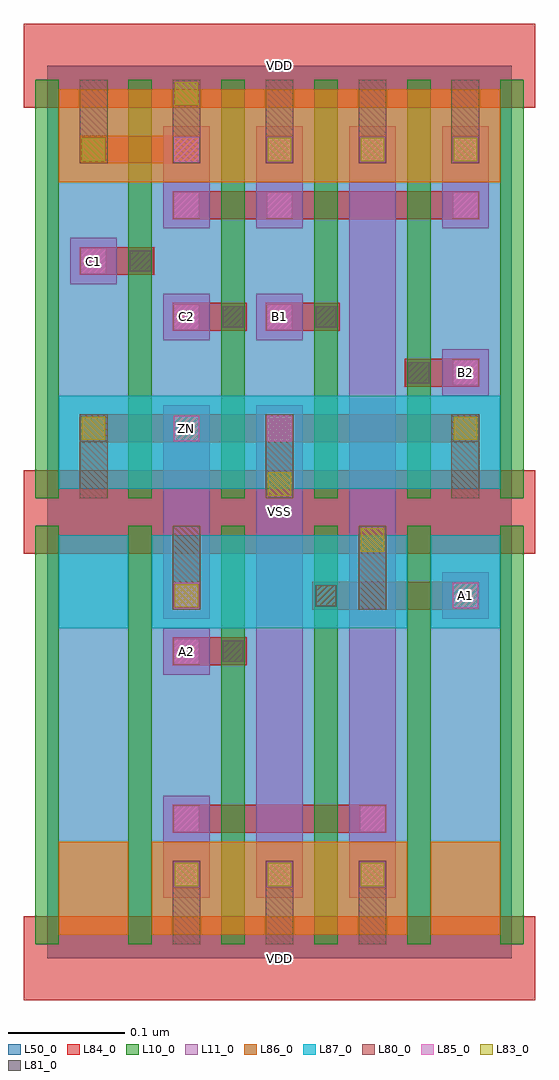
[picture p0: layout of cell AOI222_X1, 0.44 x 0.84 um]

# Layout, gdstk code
import gdstk
lib = gdstk.Library(unit=1e-6, precision=1e-09)
def R(c, l, rs):  # rectangles x0, y0, x1, y1
    for r in rs: c.add(gdstk.rectangle(r[:2], r[2:], *l))
def A(c, l, x, y, w, h, nx, ny, dx, dy):  # array of equal rectangles
    R(c, l, [(x+i*dx, y+j*dy, x+i*dx+w, y+j*dy+h) for i in range(nx) for j in range(ny)])
L10_0 = (10, 0)
L11_0 = (11, 0)
L50_0 = (50, 0)
L80_0 = (80, 0)
L81_0 = (81, 0)
L83_0 = (83, 0)
L84_0 = (84, 0)
L85_0 = (85, 0)
L86_0 = (86, 0)
L87_0 = (87, 0)

aoi222_x1 = lib.new_cell('AOI222_X1')
A(aoi222_x1, L10_0, -0.01, 0.012, 0.02, 0.36, 6, 2, 0.08, 0.384)
R(aoi222_x1, L11_0, [(0.1,0.052,0.14,0.14), (0.18,0.052,0.22,0.476), (0.26,0.052,0.3,0.716), (0.1,0.244,0.14,0.284), (0.1,0.292,0.14,0.476), (0.34,0.292,0.38,0.332), (0.34,0.484,0.38,0.524), (0.1,0.532,0.14,0.572), (0.18,0.532,0.22,0.572), (0.02,0.58,0.06,0.62), (0.1,0.628,0.14,0.716), (0.18,0.628,0.22,0.716), (0.34,0.628,0.38,0.716)])
R(aoi222_x1, L50_0, [(0,0,0.4,0.768)])
A(aoi222_x1, L80_0, 0.108, 0.012, 0.024, 0.072, 3, 1, 0.08, 0)
A(aoi222_x1, L80_0, 0.028, 0.396, 0.024, 0.072, 3, 1, 0.16, 0)
A(aoi222_x1, L80_0, 0.028, 0.684, 0.024, 0.072, 5, 1, 0.08, 0)
R(aoi222_x1, L80_0, [(0.108,0.3,0.132,0.372), (0.268,0.3,0.292,0.372)])
R(aoi222_x1, L81_0, [(0.151,0.255,0.169,0.273), (0.231,0.303,0.249,0.321), (0.311,0.495,0.329,0.513), (0.151,0.543,0.169,0.561), (0.231,0.543,0.249,0.561), (0.071,0.591,0.089,0.609)])
A(aoi222_x1, L83_0, 0.11, 0.062, 0.02, 0.02, 3, 1, 0.08, 0)
A(aoi222_x1, L83_0, 0.19, 0.686, 0.02, 0.02, 3, 1, 0.08, 0)
R(aoi222_x1, L83_0, [(0.11,0.302,0.13,0.322), (0.27,0.35,0.29,0.37), (0.19,0.398,0.21,0.418), (0.03,0.446,0.05,0.466), (0.35,0.446,0.37,0.466), (0.03,0.686,0.05,0.706), (0.11,0.734,0.13,0.754)])
A(aoi222_x1, L84_0, -0.02, -0.036, 0.44, 0.072, 1, 3, 0, 0.384)
A(aoi222_x1, L84_0, 0.108, 0.06, 0.024, 0.024, 3, 1, 0.08, 0)
A(aoi222_x1, L84_0, 0.188, 0.684, 0.024, 0.024, 3, 1, 0.08, 0)
R(aoi222_x1, L84_0, [(0.108,0.108,0.292,0.132), (0.108,0.252,0.172,0.276), (0.108,0.3,0.132,0.324), (0.228,0.3,0.372,0.324), (0.028,0.444,0.372,0.468), (0.308,0.492,0.372,0.516), (0.108,0.54,0.172,0.564), (0.188,0.54,0.252,0.564), (0.028,0.588,0.092,0.612), (0.108,0.636,0.372,0.66), (0.028,0.684,0.132,0.708)])
A(aoi222_x1, L85_0, 0.109, 0.061, 0.022, 0.022, 3, 1, 0.08, 0)
A(aoi222_x1, L85_0, 0.109, 0.445, 0.022, 0.022, 1, 3, 0, 0.096)
A(aoi222_x1, L85_0, 0.189, 0.445, 0.022, 0.022, 1, 3, 0, 0.096)
A(aoi222_x1, L85_0, 0.109, 0.685, 0.022, 0.022, 4, 1, 0.08, 0)
R(aoi222_x1, L85_0, [(0.109,0.109,0.131,0.131), (0.269,0.109,0.291,0.131), (0.109,0.253,0.131,0.275), (0.109,0.301,0.131,0.323), (0.349,0.301,0.371,0.323), (0.349,0.493,0.371,0.515), (0.029,0.589,0.051,0.611), (0.349,0.637,0.371,0.659)])
R(aoi222_x1, L86_0, [(0.01,0.02,0.07,0.1), (0.09,0.02,0.31,0.1), (0.33,0.02,0.39,0.1), (0.01,0.668,0.39,0.748)])
R(aoi222_x1, L87_0, [(0.01,0.284,0.07,0.364), (0.09,0.284,0.31,0.364), (0.33,0.284,0.39,0.364), (0.01,0.404,0.39,0.484)])
aoi222_x1.add(gdstk.Label('VSS', (0.2,0.384), layer=88, texttype=0))
aoi222_x1.add(gdstk.Label('VDD', (0.2,0), layer=88, texttype=0))
aoi222_x1.add(gdstk.Label('VDD', (0.2,0.768), layer=88, texttype=0))
aoi222_x1.add(gdstk.Label('B2', (0.36,0.504), layer=31, texttype=0))
aoi222_x1.add(gdstk.Label('A2', (0.12,0.264), layer=31, texttype=0))
aoi222_x1.add(gdstk.Label('C1', (0.04,0.6), layer=31, texttype=0))
aoi222_x1.add(gdstk.Label('A1', (0.36,0.312), layer=31, texttype=0))
aoi222_x1.add(gdstk.Label('B1', (0.2,0.552), layer=31, texttype=0))
aoi222_x1.add(gdstk.Label('C2', (0.12,0.552), layer=31, texttype=0))
aoi222_x1.add(gdstk.Label('ZN', (0.12,0.456), layer=31, texttype=0))

lib.write_gds('AOI222_X1.gds')
